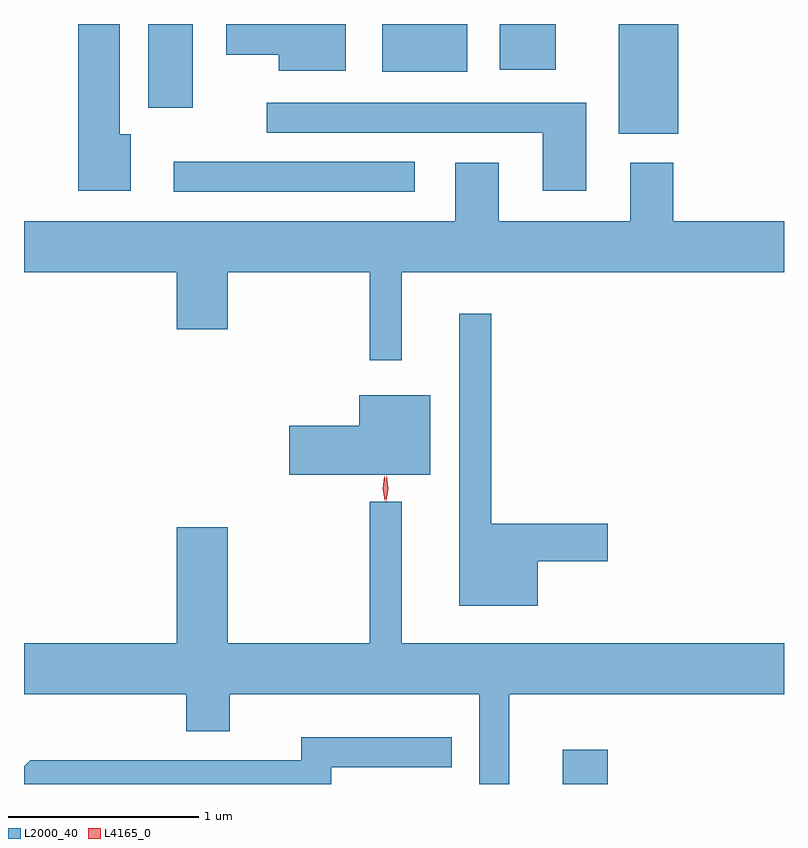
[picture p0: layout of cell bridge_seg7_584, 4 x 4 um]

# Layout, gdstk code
import gdstk
lib = gdstk.Library(unit=1e-6, precision=1e-09)
def R(c, l, rs):  # rectangles x0, y0, x1, y1
    for r in rs: c.add(gdstk.rectangle(r[:2], r[2:], *l))
def P(c, l, *ps):  # polygons
    for p in ps: c.add(gdstk.Polygon(p, *l))
L2000_40 = (2000, 40)
L4165_0 = (4165, 0)

bridge_seg7_584 = lib.new_cell('bridge_seg7_584')
R(bridge_seg7_584, L2000_40, [(636.686,1736.043,636.924,1736.224), (634.638,1739.161,635.908,1739.319), (636.981,1739.466,637.294,1740.043), (634.506,1739.601,634.739,1740.043), (635.736,1739.791,636.184,1740.043), (636.356,1739.801,636.649,1740.043)])
P(bridge_seg7_584, L2000_40, [(635.544,1740.043),(634.916,1740.043),(634.916,1739.881),(635.191,1739.881),(635.191,1739.796),(635.544,1739.796)],
  [(634.414,1739.464),(634.354,1739.464),(634.354,1740.043),(634.136,1740.043),(634.136,1739.166),(634.414,1739.166)],
  [(636.809,1739.629),(635.128,1739.629),(635.128,1739.471),(636.581,1739.471),(636.581,1739.166),(636.809,1739.166)],
  [(635.839,1738.736),(637.851,1738.736),(637.851,1739.004),(637.269,1739.004),(637.269,1739.314),(637.041,1739.314),(637.041,1739.004),(636.349,1739.004),(636.349,1739.314),(636.121,1739.314),(636.121,1739.004),(633.851,1739.004),(633.851,1738.736),(634.656,1738.736),(634.656,1738.436),(634.924,1738.436),(634.924,1738.736),(635.671,1738.736),(635.671,1738.273),(635.839,1738.273)],
  [(636.554,1737.216),(636.924,1737.216),(636.924,1737.414),(636.309,1737.414),(636.309,1738.518),(636.141,1738.518),(636.141,1736.981),(636.554,1736.981)],
  [(635.989,1738.089),(635.616,1738.089),(635.616,1737.929),(635.246,1737.929),(635.246,1737.671),(635.989,1737.671)],
  [(636.404,1736.516),(637.851,1736.516),(637.851,1736.784),(635.839,1736.784),(635.839,1737.528),(635.671,1737.528),(635.671,1736.784),(634.924,1736.784),(634.924,1737.394),(634.656,1737.394),(634.656,1736.784),(633.851,1736.784),(633.851,1736.516),(634.706,1736.516),(634.706,1736.321),(634.934,1736.321),(634.934,1736.516),(636.246,1736.516),(636.246,1736.043),(636.404,1736.043)],
  [(635.469,1736.131),(636.103,1736.131),(636.103,1736.289),(635.311,1736.289),(635.311,1736.169),(633.884,1736.169),(633.851,1736.136),(633.851,1736.043),(635.469,1736.043)])
P(bridge_seg7_584, L4165_0, [(635.749,1737.533),(635.74,1737.596),(635.748,1737.659),(635.749,1737.66),(635.749,1737.659),(635.759,1737.596),(635.75,1737.533),(635.75,1737.533)],
  [(635.757,1737.53),(635.749,1737.598),(635.759,1737.665),(635.759,1737.666),(635.76,1737.665),(635.768,1737.598),(635.758,1737.53),(635.758,1737.53)])

lib.write_gds('bridge_seg7_584.gds')
